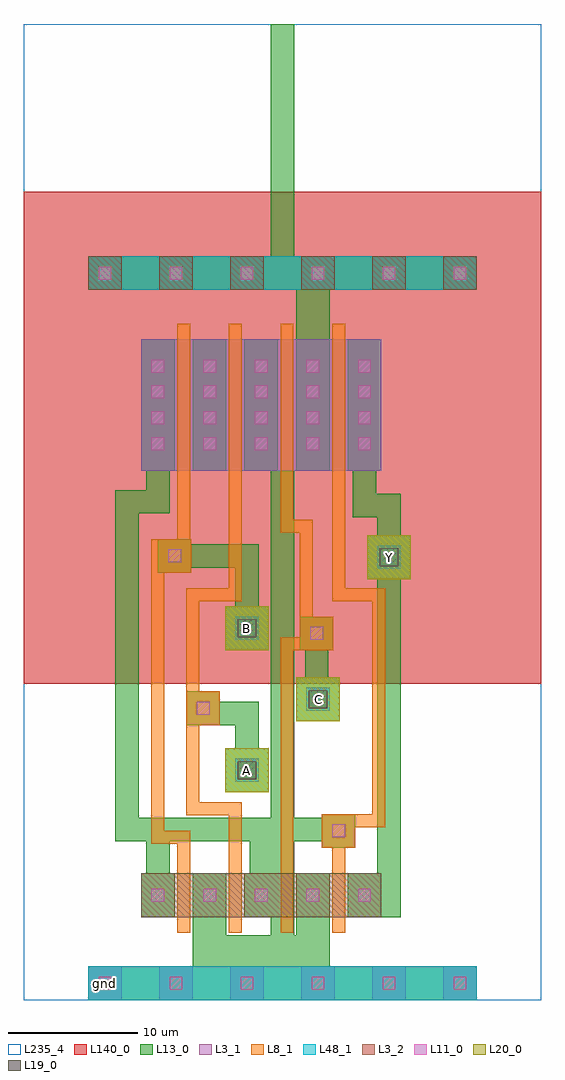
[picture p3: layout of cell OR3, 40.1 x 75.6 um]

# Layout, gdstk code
import gdstk
lib = gdstk.Library(unit=1e-6, precision=1e-09)
def R(c, l, rs):  # rectangles x0, y0, x1, y1
    for r in rs: c.add(gdstk.rectangle(r[:2], r[2:], *l))
def A(c, l, x, y, w, h, nx, ny, dx, dy):  # array of equal rectangles
    R(c, l, [(x+i*dx, y+j*dy, x+i*dx+w, y+j*dy+h) for i in range(nx) for j in range(ny)])
def P(c, l, *ps):  # polygons
    for p in ps: c.add(gdstk.Polygon(p, *l))
L3_1 = (3, 1)
L3_2 = (3, 2)
L8_1 = (8, 1)
L11_0 = (11, 0)
L13_0 = (13, 0)
L19_0 = (19, 0)
L20_0 = (20, 0)
L48_1 = (48, 1)
L140_0 = (140, 0)
L235_4 = (235, 4)

or3 = lib.new_cell('OR3')
A(or3, L3_1, 5, 0, 2.6, 2.6, 6, 1, 5.5, 0)
R(or3, L3_1, [(9.1,41,27.7,51.2)])
A(or3, L3_2, 5, 55, 2.6, 2.6, 6, 1, 5.5, 0)
R(or3, L3_2, [(9.1,6.4,27.7,9.8)])
P(or3, L8_1, [(11.9,5.2),(11.9,12.1),(9.9,12.1),(9.9,35.7),(11.9,35.7),(11.9,52.4),(12.9,52.4),(12.9,35.7),(13,35.7),(13,33.1),(10.9,33.1),(10.9,13.1),(12.9,13.1),(12.9,5.2)],
  [(15.9,5.2),(15.9,14.3),(12.6,14.3),(12.6,31.9),(15.9,31.9),(15.9,52.4),(16.9,52.4),(16.9,30.9),(13.6,30.9),(13.6,23.9),(15.2,23.9),(15.2,21.3),(13.6,21.3),(13.6,15.3),(16.9,15.3),(16.9,5.2)],
  [(19.9,5.2),(19.9,28.1),(21.4,28.1),(21.4,36.2),(19.9,36.2),(19.9,52.4),(20.9,52.4),(20.9,37.2),(22.4,37.2),(22.4,29.7),(24,29.7),(24,27.1),(20.9,27.1),(20.9,5.2)],
  [(23.9,5.2),(23.9,11.8),(23.1,11.8),(23.1,14.4),(27,14.4),(27,30.9),(23.9,30.9),(23.9,52.4),(24.9,52.4),(24.9,31.9),(28,31.9),(28,13.4),(25.7,13.4),(25.7,11.8),(24.9,11.8),(24.9,5.2)])
A(or3, L11_0, 5.8, 0.8, 1, 1, 6, 2, 5.5, 55)
A(or3, L11_0, 9.9, 42.6, 1, 1, 1, 4, 0, 2)
A(or3, L11_0, 25.9, 42.6, 1, 1, 1, 4, 0, 2)
R(or3, L11_0, [(9.9,7.6,10.9,8.6), (13.9,7.6,14.9,8.6), (13.9,7.6,14.9,8.6), (17.9,7.6,18.9,8.6), (17.9,7.6,18.9,8.6), (21.9,7.6,22.9,8.6), (21.9,7.6,22.9,8.6), (25.9,7.6,26.9,8.6), (23.9,12.6,24.9,13.6), (13.4,22.1,14.4,23.1), (22.2,27.9,23.2,28.9), (11.2,33.9,12.2,34.9), (13.9,42.6,14.9,43.6), (13.9,42.6,14.9,43.6), (17.9,42.6,18.9,43.6), (17.9,42.6,18.9,43.6), (21.9,42.6,22.9,43.6), (21.9,42.6,22.9,43.6), (13.9,44.6,14.9,45.6), (13.9,44.6,14.9,45.6), (17.9,44.6,18.9,45.6), (17.9,44.6,18.9,45.6), (21.9,44.6,22.9,45.6), (21.9,44.6,22.9,45.6), (13.9,46.6,14.9,47.6), (13.9,46.6,14.9,47.6), (17.9,46.6,18.9,47.6), (17.9,46.6,18.9,47.6), (21.9,46.6,22.9,47.6), (21.9,46.6,22.9,47.6), (13.9,48.6,14.9,49.6), (13.9,48.6,14.9,49.6), (17.9,48.6,18.9,49.6), (17.9,48.6,18.9,49.6), (21.9,48.6,22.9,49.6), (21.9,48.6,22.9,49.6)])
R(or3, L13_0, [(13.1,41,15.7,51.2)])
P(or3, L13_0, [(15.6,16.1),(15.6,19.5),(16.4,19.5),(16.4,21.3),(12.6,21.3),(12.6,23.9),(15.2,23.9),(15.2,23.1),(18.2,23.1),(18.2,19.5),(19,19.5),(19,16.1)],
  [(21.1,21.6),(21.1,25),(21.8,25),(21.8,27.1),(21.4,27.1),(21.4,29.7),(24,29.7),(24,27.1),(23.6,27.1),(23.6,25),(24.5,25),(24.5,21.6)],
  [(15.6,27.1),(15.6,30.5),(16.4,30.5),(16.4,33.5),(13,33.5),(13,33.1),(10.4,33.1),(10.4,35.7),(13,35.7),(13,35.3),(18.2,35.3),(18.2,30.5),(19,30.5),(19,27.1)],
  [(5,0),(5,2.6),(13.1,2.6),(13.1,9.8),(15.7,9.8),(15.7,5),(19.15,5),(19.15,6.4),(17.1,6.4),(17.1,9.8),(17.5,9.8),(17.5,12.3),(11.3,12.3),(11.3,9.8),(11.7,9.8),(11.7,6.4),(9.1,6.4),(9.1,9.8),(9.5,9.8),(9.5,12.3),(7.1,12.3),(7.1,39.5),(9.5,39.5),(9.5,41),(9.1,41),(9.1,51.2),(11.7,51.2),(11.7,41),(11.3,41),(11.3,37.7),(8.9,37.7),(8.9,14.1),(19.15,14.1),(19.15,41),(17.1,41),(17.1,51.2),(19.7,51.2),(19.7,41),(20.95,41),(20.95,14.1),(23.1,14.1),(23.1,14.4),(25.7,14.4),(25.7,11.8),(23.1,11.8),(23.1,12.3),(20.95,12.3),(20.95,5),(21.1,5),(21.1,9.8),(23.7,9.8),(23.7,2.6),(35.1,2.6),(35.1,0)],
  [(25.1,6.4),(25.1,9.8),(27.4,9.8),(27.4,32.6),(26.6,32.6),(26.6,36),(27.4,36),(27.4,37.4),(25.5,37.4),(25.5,41),(25.1,41),(25.1,51.2),(27.7,51.2),(27.7,41),(27.3,41),(27.3,39.2),(29.2,39.2),(29.2,36),(30,36),(30,32.6),(29.2,32.6),(29.2,6.4)],
  [(21.1,41),(21.1,55),(5,55),(5,57.6),(19.15,57.6),(19.15,75.6),(20.95,75.6),(20.95,57.6),(35.1,57.6),(35.1,55),(23.7,55),(23.7,41)])
R(or3, L19_0, [(16.6,17.1,18,18.5), (22.1,22.6,23.5,24), (16.6,28.1,18,29.5), (27.6,33.6,29,35)])
R(or3, L20_0, [(15.6,16.1,19,19.5), (21.1,21.6,24.5,25), (15.6,27.1,19,30.5), (26.6,32.6,30,36)])
R(or3, L48_1, [(5,0,35.1,2.6), (16.4,16.9,18.2,18.7), (21.9,22.4,23.7,24.2), (16.4,27.9,18.2,29.7), (27.4,33.4,29.2,35.2), (5,55,35.1,57.6)])
R(or3, L140_0, [(0,24.5,40.1,62.6)])
R(or3, L235_4, [(0,0,40.1,75.6)])
or3.add(gdstk.Label('Y', (28.3,34.3), layer=48, texttype=0))
or3.add(gdstk.Label('A', (17.3,17.8), layer=48, texttype=0))
or3.add(gdstk.Label('B', (17.3,28.8), layer=48, texttype=0))
or3.add(gdstk.Label('C', (22.8,23.3), layer=48, texttype=0))
or3.add(gdstk.Label('gnd', (6.3,1.3), layer=48, texttype=0))
or3.add(gdstk.Label('A', (17.3,17.8), layer=49, texttype=0))
or3.add(gdstk.Label('B', (17.3,28.8), layer=49, texttype=0))
or3.add(gdstk.Label('C', (22.8,23.3), layer=49, texttype=0))
or3.add(gdstk.Label('Y', (28.3,34.3), layer=49, texttype=0))

lib.write_gds('OR3.gds')
